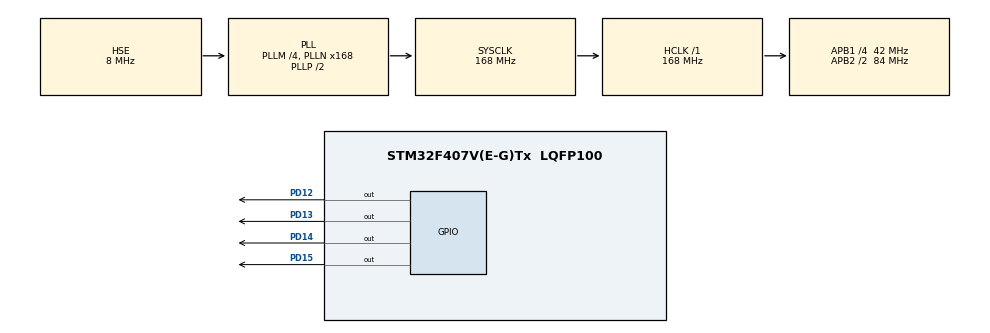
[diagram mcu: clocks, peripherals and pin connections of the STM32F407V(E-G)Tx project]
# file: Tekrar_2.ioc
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Mcu.Family=STM32F4
Mcu.Name=STM32F407V(E-G)Tx
Mcu.Package=LQFP100
NVIC.PriorityGroup=NVIC_PRIORITYGROUP_4
PD12.GPIO_Speed=GPIO_SPEED_FREQ_VERY_HIGH
PD12.Signal=GPIO_Output
PD13.GPIO_Speed=GPIO_SPEED_FREQ_VERY_HIGH
PD13.Signal=GPIO_Output
PD14.GPIO_Speed=GPIO_SPEED_FREQ_VERY_HIGH
PD14.Signal=GPIO_Output
PD15.GPIO_Speed=GPIO_SPEED_FREQ_VERY_HIGH
PD15.Signal=GPIO_Output
PH0-OSC_IN.Mode=HSE-External-Oscillator
PH0-OSC_IN.Signal=RCC_OSC_IN
PH1-OSC_OUT.Mode=HSE-External-Oscillator
PH1-OSC_OUT.Signal=RCC_OSC_OUT
ProjectManager.HeapSize=0x200
ProjectManager.StackSize=0x400
ProjectManager.TargetToolchain=STM32CubeIDE
RCC.48MHZClocksFreq_Value=84000000
RCC.AHBFreq_Value=168000000
RCC.APB1CLKDivider=RCC_HCLK_DIV4
RCC.APB1Freq_Value=42000000
RCC.APB1TimFreq_Value=84000000
RCC.APB2CLKDivider=RCC_HCLK_DIV2
RCC.APB2Freq_Value=84000000
RCC.APB2TimFreq_Value=168000000
RCC.CortexFreq_Value=168000000
RCC.HCLKFreq_Value=168000000
RCC.HSE_VALUE=8000000
RCC.HSI_VALUE=16000000
RCC.LSE_VALUE=32768
RCC.PLLM=4
RCC.PLLN=168
RCC.PLLSourceVirtual=RCC_PLLSOURCE_HSE
RCC.SYSCLKFreq_VALUE=168000000
RCC.SYSCLKSource=RCC_SYSCLKSOURCE_PLLCLK
RCC.VCOOutputFreq_Value=336000000
board=custom

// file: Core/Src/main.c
/* USER CODE BEGIN Header */
/**
  ******************************************************************************
  * @file           : main.c
  * @brief          : Main program body
  ******************************************************************************
  * @attention
  *
  * Copyright (c) 2023 STMicroelectronics.
  * All rights reserved.
  *
  * This software is licensed under terms that can be found in the LICENSE file
  * in the root directory of this software component.
  * If no LICENSE file comes with this software, it is provided AS-IS.
  *
  ******************************************************************************
  */
/* USER CODE END Header */
#include "main.h"
#define led_count 4  //led_count makrosunun değerini 4 yaptım

/* USER CODE BEGIN PV */
uint16_t led_pins[]={GPIO_PIN_12, GPIO_PIN_13, GPIO_PIN_14, GPIO_PIN_15};
int current_led=0;

/* USER CODE END PV */

void SystemClock_Config(void);
static void MX_GPIO_Init(void);

int main(void)
{

  /* MCU Configuration--------------------------------------------------------*/

  /* Reset of all peripherals, Initializes the Flash interface and the Systick. */
  HAL_Init();

  /* Configure the system clock */
  SystemClock_Config();

  /* Initialize all configured peripherals */
  MX_GPIO_Init();

  /* Infinite loop */
  while (1)
  {

    /* USER CODE BEGIN 3 */
	  switch(current_led)
	  {
	  case 0:
	 HAL_GPIO_WritePin(GPIOD, led_pins[0], GPIO_PIN_SET);          // HAL_GPIO_WritePin(GPIOD, GPIO_PIN_12, GPIO_PIN_SET);
	  HAL_GPIO_WritePin(GPIOD, led_pins[3], GPIO_PIN_RESET);
	  break;

	  case 1:
	  HAL_GPIO_WritePin(GPIOD, led_pins[0], GPIO_PIN_RESET);
	  HAL_GPIO_WritePin(GPIOD, led_pins[1], GPIO_PIN_SET);
	  break;

	  case 2:
	  HAL_GPIO_WritePin(GPIOD, led_pins[1], GPIO_PIN_RESET);
	  HAL_GPIO_WritePin(GPIOD, led_pins[2], GPIO_PIN_SET);
	  break;

	  case 3:
	  HAL_GPIO_WritePin(GPIOD, led_pins[2], GPIO_PIN_RESET);
	  HAL_GPIO_WritePin(GPIOD, led_pins[3], GPIO_PIN_SET);         // HAL_GPIO_WritePin(GPIOD, GPIO_PIN_15, GPIO_PIN_SET);
      break;
	  }

	  HAL_Delay(1000);
	  current_led= (current_led+1) % led_count ;

  }
  /* USER CODE END 3 */
}

void SystemClock_Config(void)
{
  RCC_OscInitTypeDef RCC_OscInitStruct = {0};
  RCC_ClkInitTypeDef RCC_ClkInitStruct = {0};

  /** Configure the main internal regulator output voltage
  */
  __HAL_RCC_PWR_CLK_ENABLE();
  __HAL_PWR_VOLTAGESCALING_CONFIG(PWR_REGULATOR_VOLTAGE_SCALE1);

  /** Initializes the RCC Oscillators according to the specified parameters
  * in the RCC_OscInitTypeDef structure.
  */
  RCC_OscInitStruct.OscillatorType = RCC_OSCILLATORTYPE_HSE;
  RCC_OscInitStruct.HSEState = RCC_HSE_ON;
  RCC_OscInitStruct.PLL.PLLState = RCC_PLL_ON;
  RCC_OscInitStruct.PLL.PLLSource = RCC_PLLSOURCE_HSE;
  RCC_OscInitStruct.PLL.PLLM = 4;
  RCC_OscInitStruct.PLL.PLLN = 168;
  RCC_OscInitStruct.PLL.PLLP = RCC_PLLP_DIV2;
  RCC_OscInitStruct.PLL.PLLQ = 4;
  if (HAL_RCC_OscConfig(&RCC_OscInitStruct) != HAL_OK)
  {
    Error_Handler();
  }

  /** Initializes the CPU, AHB and APB buses clocks
  */
  RCC_ClkInitStruct.ClockType = RCC_CLOCKTYPE_HCLK|RCC_CLOCKTYPE_SYSCLK
                              |RCC_CLOCKTYPE_PCLK1|RCC_CLOCKTYPE_PCLK2;
  RCC_ClkInitStruct.SYSCLKSource = RCC_SYSCLKSOURCE_PLLCLK;
  RCC_ClkInitStruct.AHBCLKDivider = RCC_SYSCLK_DIV1;
  RCC_ClkInitStruct.APB1CLKDivider = RCC_HCLK_DIV4;
  RCC_ClkInitStruct.APB2CLKDivider = RCC_HCLK_DIV2;

  if (HAL_RCC_ClockConfig(&RCC_ClkInitStruct, FLASH_LATENCY_5) != HAL_OK)
  {
    Error_Handler();
  }
}

static void MX_GPIO_Init(void)
{
  GPIO_InitTypeDef GPIO_InitStruct = {0};

  /* GPIO Ports Clock Enable */
  __HAL_RCC_GPIOH_CLK_ENABLE();
  __HAL_RCC_GPIOD_CLK_ENABLE();

  /*Configure GPIO pin Output Level */
  HAL_GPIO_WritePin(GPIOD, GPIO_PIN_12|GPIO_PIN_13|GPIO_PIN_14|GPIO_PIN_15, GPIO_PIN_RESET);

  /*Configure GPIO pins : PD12 PD13 PD14 PD15 */
  GPIO_InitStruct.Pin = GPIO_PIN_12|GPIO_PIN_13|GPIO_PIN_14|GPIO_PIN_15;
  GPIO_InitStruct.Mode = GPIO_MODE_OUTPUT_PP;
  GPIO_InitStruct.Pull = GPIO_NOPULL;
  GPIO_InitStruct.Speed = GPIO_SPEED_FREQ_VERY_HIGH;
  HAL_GPIO_Init(GPIOD, &GPIO_InitStruct);

}

void Error_Handler(void)
{
  __disable_irq();
  while (1)
  {
  }
}
